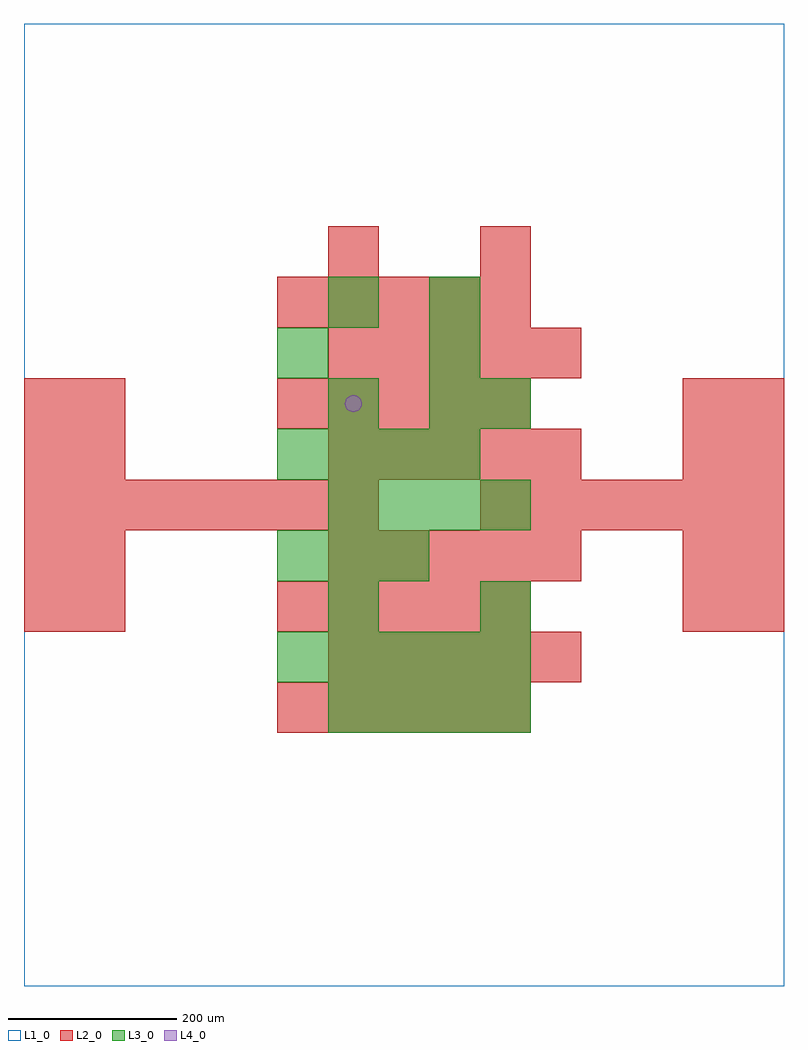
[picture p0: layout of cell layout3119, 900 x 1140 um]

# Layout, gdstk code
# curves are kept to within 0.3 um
import gdstk
lib = gdstk.Library(unit=1e-6, precision=1e-09)
def R(c, l, rs):  # rectangles x0, y0, x1, y1
    for r in rs: c.add(gdstk.rectangle(r[:2], r[2:], *l))
def A(c, l, x, y, w, h, nx, ny, dx, dy):  # array of equal rectangles
    R(c, l, [(x+i*dx, y+j*dy, x+i*dx+w, y+j*dy+h) for i in range(nx) for j in range(ny)])
def P(c, l, *ps):  # polygons
    for p in ps: c.add(gdstk.Polygon(p, *l))
L1_0 = (1, 0)
L2_0 = (2, 0)
L3_0 = (3, 0)
L4_0 = (4, 0)

layout3119 = lib.new_cell('layout3119')
R(layout3119, L1_0, [(0,0,900,1140)])
A(layout3119, L2_0, 300, 300, 60, 60, 5, 2, 60, 120)
A(layout3119, L2_0, 360, 360, 60, 60, 5, 4, 60, 120)
A(layout3119, L2_0, 0, 540, 60, 60, 7, 1, 60, 0)
A(layout3119, L2_0, 540, 540, 60, 60, 6, 1, 60, 0)
A(layout3119, L2_0, 300, 660, 60, 60, 5, 2, 60, 120)
R(layout3119, L2_0, [(0,420,60,480), (60,420,120,480), (780,420,840,480), (840,420,900,480), (0,480,60,540), (60,480,120,540), (780,480,840,540), (840,480,900,540), (0,600,60,660), (60,600,120,660), (780,600,840,660), (840,600,900,660), (0,660,60,720), (60,660,120,720), (780,660,840,720), (840,660,900,720), (360,840,420,900), (540,840,600,900)])
A(layout3119, L3_0, 360, 300, 60, 60, 4, 2, 60, 240)
A(layout3119, L3_0, 300, 360, 60, 60, 5, 1, 60, 0)
A(layout3119, L3_0, 300, 480, 60, 60, 3, 1, 60, 0)
A(layout3119, L3_0, 300, 600, 60, 60, 4, 1, 60, 0)
A(layout3119, L3_0, 480, 660, 60, 60, 1, 3, 0, 60)
R(layout3119, L3_0, [(360,420,420,480), (540,420,600,480), (360,660,420,720), (540,660,600,720), (300,720,360,780), (360,780,420,840)])
P(layout3119, L4_0, [(400,690),(399.239,693.827),(397.071,697.071),(393.827,699.239),(390,700),(386.173,699.239),(382.929,697.071),(380.761,693.827),(380,690),(380.761,686.173),(382.929,682.929),(386.173,680.761),(390,680),(393.827,680.761),(397.071,682.929),(399.239,686.173)])

lib.write_gds('layout3119.gds')
